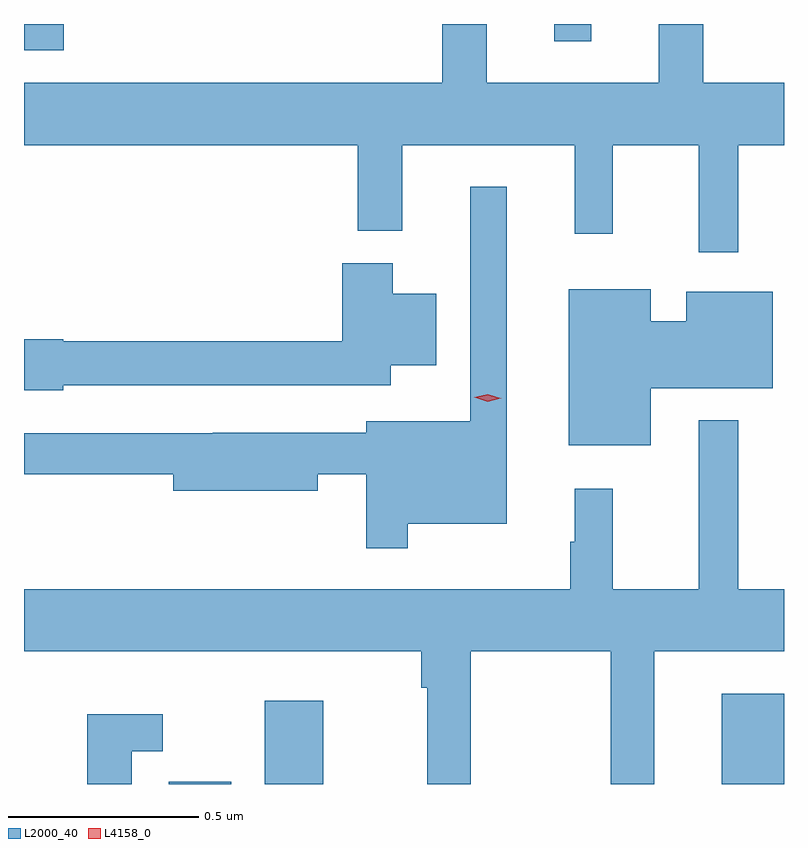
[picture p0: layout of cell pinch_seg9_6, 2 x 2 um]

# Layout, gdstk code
import gdstk
lib = gdstk.Library(unit=1e-6, precision=1e-09)
def R(c, l, rs):  # rectangles x0, y0, x1, y1
    for r in rs: c.add(gdstk.rectangle(r[:2], r[2:], *l))
def P(c, l, *ps):  # polygons
    for p in ps: c.add(gdstk.Polygon(p, *l))
L2000_40 = (2000, 40)
L4158_0 = (4158, 0)

pinch_seg9_6 = lib.new_cell('pinch_seg9_6')
R(pinch_seg9_6, L2000_40, [(1048.226,1233.367,1048.39,1233.373), (1048.478,1233.367,1048.633,1233.586), (1049.681,1233.367,1049.845,1233.604), (1047.845,1235.298,1047.95,1235.367), (1049.241,1235.322,1049.338,1235.367)])
P(pinch_seg9_6, L2000_40, [(1049.725,1235.048),(1049.845,1235.048),(1049.845,1235.212),(1049.633,1235.212),(1049.633,1235.367),(1049.516,1235.367),(1049.516,1235.212),(1049.063,1235.212),(1049.063,1235.367),(1048.945,1235.367),(1048.945,1235.212),(1047.845,1235.212),(1047.845,1235.048),(1048.723,1235.048),(1048.723,1234.823),(1048.841,1234.823),(1048.841,1235.048),(1049.294,1235.048),(1049.294,1234.815),(1049.394,1234.815),(1049.394,1235.048),(1049.621,1235.048),(1049.621,1234.767),(1049.725,1234.767)],
  [(1048.855,1234.052),(1049.116,1234.052),(1049.116,1234.939),(1049.019,1234.939),(1049.019,1234.321),(1048.745,1234.321),(1048.745,1234.291),(1048.342,1234.291),(1048.342,1234.29),(1047.845,1234.29),(1047.845,1234.182),(1048.238,1234.182),(1048.238,1234.139),(1048.618,1234.139),(1048.618,1234.182),(1048.746,1234.182),(1048.746,1233.987),(1048.855,1233.987)],
  [(1047.948,1234.416),(1048.81,1234.416),(1048.81,1234.469),(1048.93,1234.469),(1048.93,1234.657),(1048.816,1234.657),(1048.816,1234.738),(1048.682,1234.738),(1048.682,1234.532),(1047.948,1234.532),(1047.948,1234.538),(1047.845,1234.538),(1047.845,1234.403),(1047.948,1234.403)],
  [(1049.494,1234.409),(1049.815,1234.409),(1049.815,1234.663),(1049.588,1234.663),(1049.588,1234.585),(1049.494,1234.585),(1049.494,1234.669),(1049.279,1234.669),(1049.279,1234.259),(1049.494,1234.259)],
  [(1049.02,1233.716),(1049.389,1233.716),(1049.389,1233.367),(1049.503,1233.367),(1049.503,1233.716),(1049.845,1233.716),(1049.845,1233.88),(1049.725,1233.88),(1049.725,1234.324),(1049.621,1234.324),(1049.621,1233.88),(1049.394,1233.88),(1049.394,1234.144),(1049.294,1234.144),(1049.294,1234.004),(1049.283,1234.004),(1049.283,1233.88),(1047.845,1233.88),(1047.845,1233.716),(1048.891,1233.716),(1048.891,1233.62),(1048.906,1233.62),(1048.906,1233.367),(1049.02,1233.367)],
  [(1048.128,1233.453),(1048.21,1233.453),(1048.21,1233.55),(1048.012,1233.55),(1048.012,1233.367),(1048.128,1233.367)])
P(pinch_seg9_6, L4158_0, [(1049.065,1234.373),(1049.03,1234.385),(1049.029,1234.385),(1049.03,1234.385),(1049.066,1234.393),(1049.1,1234.382),(1049.101,1234.382),(1049.1,1234.382)])

lib.write_gds('pinch_seg9_6.gds')
